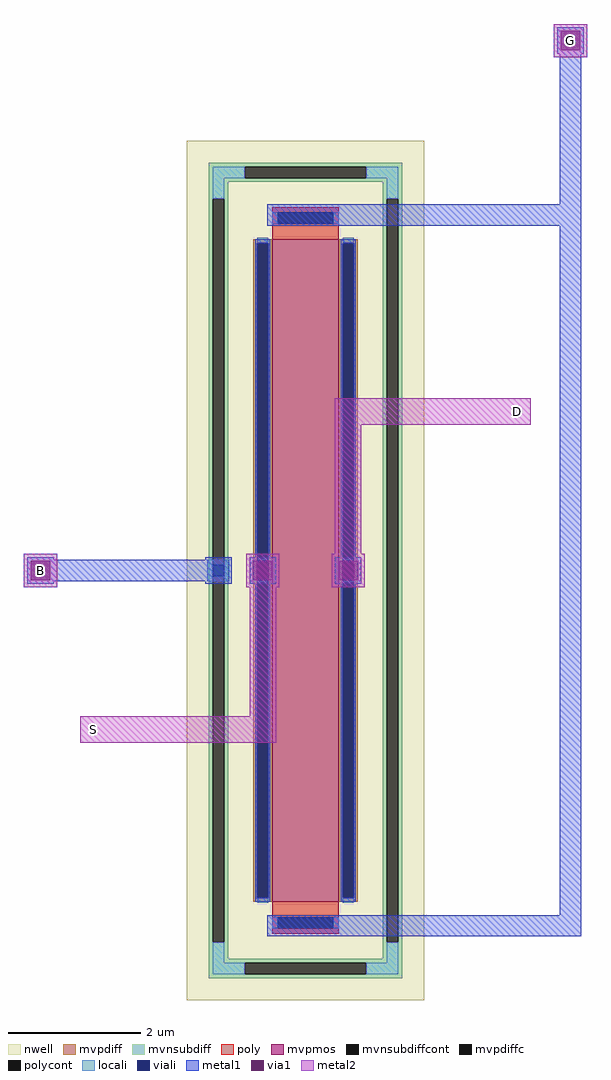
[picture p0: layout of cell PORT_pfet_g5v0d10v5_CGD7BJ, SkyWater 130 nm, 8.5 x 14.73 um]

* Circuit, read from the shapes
.subckt PORT_pfet_g5v0d10v5_CGD7BJ B S D G
XM1 D G S B sky130_fd_pr__pfet_g5v0d10v5 w=10 l=1
.ends

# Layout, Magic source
magic
tech sky130A
magscale 1 2
use sky130_fd_pr__pfet_g5v0d10v5_CGD7BJ XDEV
transform 1 0 0 0 1 0
box -358 -1297 358 1297
<< locali >>
rect -296 -33 -230 33
<< viali >>
rect -280 -17 -246 17
<< metal1 >>
rect -303 -40 -223 40
rect -832 -32 -231 32
rect -840 -40 -760 40
rect -169 -40 -89 40
rect 89 -40 169 40
rect -116 1041 832 1105
rect -116 -1105 832 -1041
rect 768 -1096 832 1632
rect 760 1560 840 1640
<< via1 >>
rect -830 -30 -770 30
rect -159 -30 -99 30
rect 99 -30 159 30
rect 770 1570 830 1630
<< metal2 >>
rect -850 -50 -750 50
rect -179 -50 -79 50
rect -169 -40 -89 40
rect -169 -520 -89 40
rect 79 -50 179 50
rect 89 -40 169 40
rect 89 -40 169 520
rect -680 -520 -89 -440
rect 89 440 680 520
rect 750 1550 850 1650
<< labels >>
rlabel metal2 -830 -30 -770 30 0 B
port 1 nsew
rlabel metal2 -670 -510 -610 -450 0 S
port 2 nsew
rlabel metal2 610 450 670 510 0 D
port 3 nsew
rlabel metal2 770 1570 830 1630 0 G
port 4 nsew
<< end >>

# cell sky130_fd_pr__pfet_g5v0d10v5_CGD7BJ: kit device sky130_fd_pr__pfet_g5v0d10v5, w 10.0 l 1.0 m 1 nf 1 diffcov 100 polycov 100 guard 1 glc 1 grc 1 gtc 1 gbc 1 tbcov 100 rlcov 100 topc 1 botc 1 poverlap 0 doverlap 1 lmin 0.50 wmin 0.42 compatible {sky130_fd_pr__pfet_01v8 sky130_fd_pr__pfet_01v8_lvt sky130_fd_pr__pfet_01v8_hvt sky130_fd_pr__pfet_g5v0d10v5} full_metal 1 viasrc 100 viadrn 100 viagate 100 viagb 0 viagr 0 viagl 0 viagt 0
